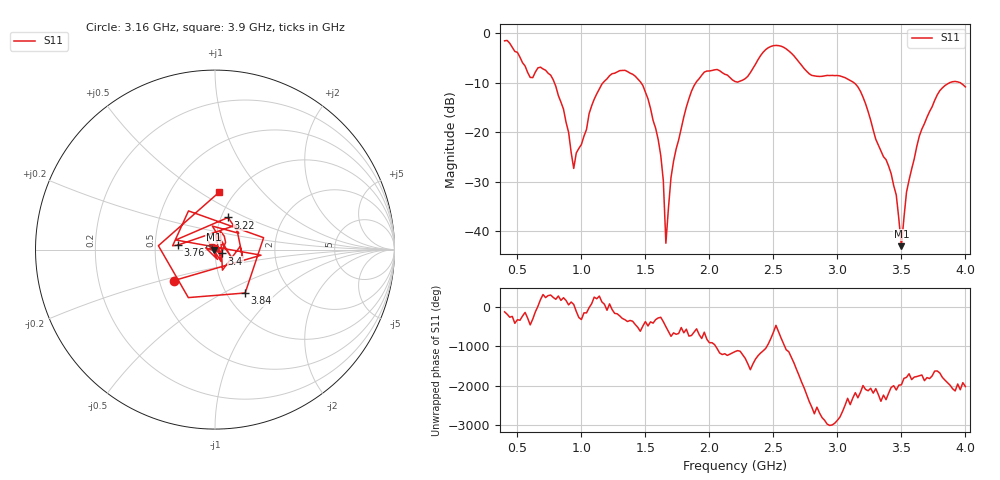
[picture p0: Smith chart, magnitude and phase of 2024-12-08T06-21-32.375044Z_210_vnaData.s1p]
!Created with skrf (http://scikit-rf.org).
# Hz S RI R 50.0
!freq ReS11 ImS11
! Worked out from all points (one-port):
!   181 points, 400 MHz to 4 GHz, reference 50 ohm
!   lowest |S11| = -43.0 dB at 3.5 GHz (marker M1), VSWR 1.01, Z = 49.3 - j0.0542 ohm
!   |S11| at or under -10 dB: 788.3 MHz to 1.171 GHz (383 MHz wide, 39.1 % of centre); 1.464 GHz to 1.895 GHz (431.1 MHz wide, 25.7 % of centre); 3.126 GHz to 3.88 GHz (753.7 MHz wide, 21.5 % of centre) (the widest 3 of 4)
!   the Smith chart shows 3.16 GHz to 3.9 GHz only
!   S11 on the Smith chart (normalised r, x): 3.16 GHz: 0.60, -0.22; 3.22 GHz: 1.08, +0.40; 3.4 GHz: 1.08, -0.05; 3.76 GHz: 0.66, +0.03; 3.84 GHz: 1.22, -0.64; 3.9 GHz: 0.85, +0.61
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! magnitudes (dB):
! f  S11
! 400 MHz  -1.6
! 600 MHz  -9.0
! 760 MHz  -8.5
! 860 MHz  -15.4
! 940 MHz  -27.4
! 1.1 GHz  -13.4
! 1.3 GHz  -7.6
! 1.52 GHz  -13.3
! 1.62 GHz  -24.7
! 1.64 GHz  -29.8
! 1.66 GHz  -42.5
! 1.7 GHz  -29.2
! 1.76 GHz  -21.6
! 1.96 GHz  -7.9
! 2.2 GHz  -9.8
! 2.48 GHz  -2.7
! 2.66 GHz  -4.6
! 3.1 GHz  -9.6
! 3.16 GHz  -10.9
! 3.22 GHz  -14.3
! 3.4 GHz  -26.9
! 3.46 GHz  -32.7
! 3.5 GHz  -43.0
! 3.56 GHz  -29.7
! 3.76 GHz  -13.6
! 3.84 GHz  -10.6
! 3.9 GHz  -9.8
! 4 GHz  -10.9
